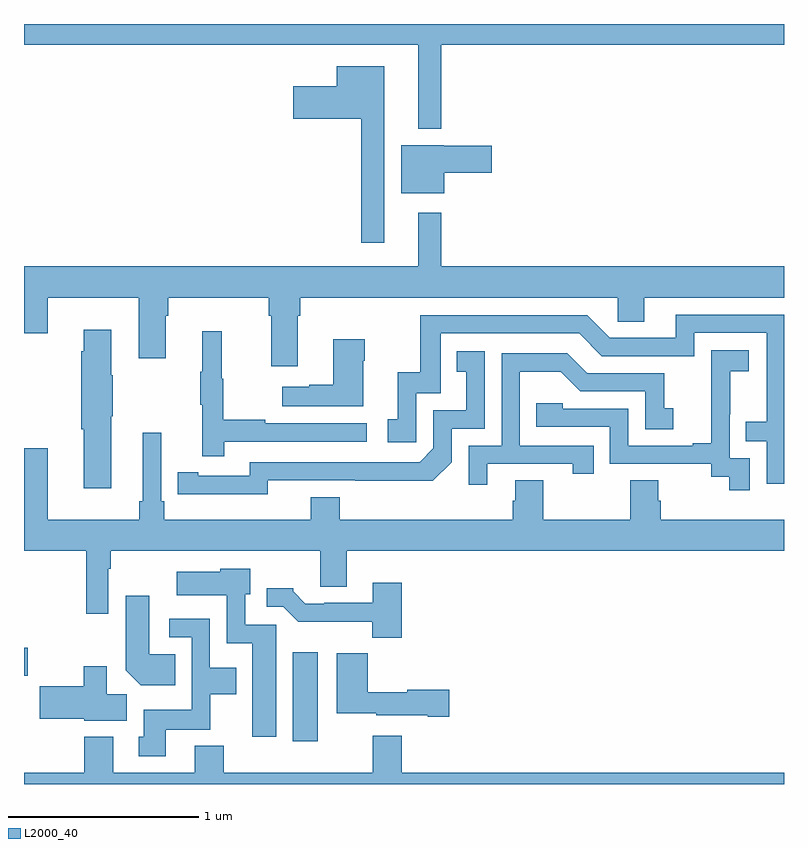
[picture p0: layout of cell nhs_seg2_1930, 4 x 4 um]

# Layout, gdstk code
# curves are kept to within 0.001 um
import gdstk
lib = gdstk.Library(unit=1e-6, precision=1e-09)
def R(c, l, rs):  # rectangles x0, y0, x1, y1
    for r in rs: c.add(gdstk.rectangle(r[:2], r[2:], *l))
def P(c, l, *ps):  # polygons
    for p in ps: c.add(gdstk.Polygon(p, *l))
L2000_40 = (2000, 40)

nhs_seg2_1930 = lib.new_cell('nhs_seg2_1930')
R(nhs_seg2_1930, L2000_40, [(214.415,588.024,214.546,588.493), (213,588.371,213.019,588.518)])
P(nhs_seg2_1930, L2000_40, [(215.197,591.692),(217,591.692),(217,591.8),(213,591.8),(213,591.692),(215.075,591.692),(215.075,591.248),(215.197,591.248)],
  [(214.897,591.577),(214.646,591.577),(214.646,591.472),(214.416,591.472),(214.416,591.302),(214.776,591.302),(214.776,590.649),(214.897,590.649)],
  [(215.212,591.016),(215.461,591.016),(215.461,591.158),(215.208,591.158),(215.208,591.163),(214.985,591.163),(214.985,590.909),(215.212,590.909)],
  [(215.197,590.806),(215.075,590.806),(215.075,590.524),(213,590.524),(213,590.172),(213.124,590.172),(213.124,590.36),(213.605,590.36),(213.605,590.04),(213.745,590.04),(213.745,590.264),(213.758,590.264),(213.758,590.36),(214.289,590.36),(214.289,590.264),(214.301,590.264),(214.301,589.998),(214.441,589.998),(214.441,590.264),(214.454,590.264),(214.454,590.36),(216.126,590.36),(216.126,590.233),(216.265,590.233),(216.265,590.36),(217,590.36),(217,590.524),(215.197,590.524)],
  [(217,590.271),(216.431,590.271),(216.431,590.148),(216.084,590.148),(215.964,590.268),(215.085,590.268),(215.085,589.966),(214.967,589.966),(214.967,589.719),(214.914,589.719),(214.914,589.599),(215.064,589.599),(215.064,589.857),(215.193,589.857),(215.193,590.172),(215.922,590.172),(216.042,590.052),(216.528,590.052),(216.528,590.175),(216.909,590.175),(216.909,589.706),(216.799,589.706),(216.799,589.605),(216.909,589.605),(216.909,589.38),(217,589.38)],
  [(213.46,589.735),(213.468,589.735),(213.468,589.952),(213.46,589.952),(213.46,590.191),(213.314,590.191),(213.314,590.078),(213.302,590.078),(213.302,589.668),(213.314,589.668),(213.314,589.356),(213.46,589.356)],
  [(214.055,589.602),(214.804,589.602),(214.804,589.698),(214.271,589.698),(214.271,589.718),(214.048,589.718),(214.048,589.932),(214.04,589.932),(214.04,590.182),(213.938,590.182),(213.938,589.969),(213.927,589.969),(213.927,589.795),(213.938,589.795),(213.938,589.524),(214.055,589.524)],
  [(214.786,590.027),(214.794,590.027),(214.794,590.14),(214.628,590.14),(214.628,589.901),(214.502,589.901),(214.502,589.891),(214.359,589.891),(214.359,589.787),(214.786,589.787)],
  [(216.819,589.515),(216.714,589.515),(216.714,589.745),(216.716,589.745),(216.716,589.973),(216.814,589.973),(216.814,590.083),(216.616,590.083),(216.616,589.877),(216.617,589.877),(216.617,589.594),(216.521,589.594),(216.521,589.581),(216.18,589.581),(216.18,589.776),(215.835,589.776),(215.835,589.803),(215.695,589.803),(215.695,589.68),(216.084,589.68),(216.084,589.485),(216.618,589.485),(216.618,589.417),(216.711,589.417),(216.711,589.347),(216.819,589.347)],
  [(214.284,589.398),(215.152,589.397),(215.25,589.494),(215.25,589.671),(215.424,589.671),(215.424,590.077),(215.278,590.077),(215.278,589.971),(215.327,589.971),(215.327,589.767),(215.154,589.767),(215.154,589.566),(215.082,589.494),(214.188,589.494),(214.188,589.422),(213.916,589.422),(213.916,589.442),(213.808,589.442),(213.808,589.326),(214.284,589.325)],
  [(215.437,589.485),(215.888,589.485),(215.888,589.434),(215.999,589.434),(215.999,589.581),(215.61,589.581),(215.61,589.97),(215.824,589.97),(215.928,589.866),(216.27,589.866),(216.27,589.668),(216.418,589.668),(216.418,589.777),(216.369,589.777),(216.369,589.962),(215.965,589.962),(215.86,590.067),(215.514,590.067),(215.514,589.581),(215.34,589.581),(215.34,589.374),(215.437,589.374)],
  [(214.699,589.028),(217,589.028),(217,589.192),(216.35,589.192),(216.35,589.29),(216.337,589.29),(216.337,589.4),(216.19,589.4),(216.19,589.192),(215.733,589.192),(215.733,589.4),(215.585,589.4),(215.585,589.29),(215.573,589.29),(215.573,589.192),(214.661,589.192),(214.661,589.309),(214.508,589.309),(214.508,589.192),(213.737,589.192),(213.737,589.288),(213.723,589.288),(213.723,589.648),(213.626,589.648),(213.626,589.288),(213.607,589.288),(213.607,589.192),(213.124,589.192),(213.124,589.567),(213,589.567),(213,589.028),(213.328,589.028),(213.328,588.696),(213.444,588.696),(213.444,588.932),(213.457,588.932),(213.457,589.028),(214.559,589.028),(214.559,588.838),(214.699,588.838)],
  [(214.327,588.639),(214.164,588.639),(214.164,588.798),(214.192,588.798),(214.192,588.934),(214.032,588.934),(214.032,588.916),(213.804,588.916),(213.804,588.794),(214.068,588.794),(214.068,588.542),(214.202,588.542),(214.202,588.048),(214.327,588.048)],
  [(214.988,588.859),(214.835,588.859),(214.835,588.753),(214.579,588.753),(214.579,588.75),(214.48,588.75),(214.416,588.814),(214.416,588.829),(214.277,588.829),(214.277,588.732),(214.365,588.732),(214.444,588.654),(214.833,588.654),(214.833,588.569),(214.988,588.569)],
  [(213.797,588.484),(213.658,588.484),(213.658,588.79),(213.536,588.79),(213.536,588.398),(213.614,588.32),(213.797,588.32)],
  [(213.745,588.086),(213.981,588.086),(213.981,588.272),(214.117,588.272),(214.117,588.412),(213.978,588.412),(213.978,588.669),(213.765,588.669),(213.765,588.573),(213.882,588.573),(213.882,588.19),(213.629,588.19),(213.629,588.048),(213.605,588.048),(213.605,587.946),(213.745,587.946)],
  [(215.239,588.296),(215.016,588.296),(215.016,588.283),(214.808,588.283),(214.808,588.487),(214.646,588.487),(214.646,588.173),(214.854,588.173),(214.854,588.161),(215.126,588.161),(215.126,588.154),(215.239,588.154)],
  [(213.541,588.272),(213.436,588.272),(213.436,588.421),(213.314,588.421),(213.314,588.314),(213.084,588.314),(213.084,588.143),(213.318,588.143),(213.318,588.134),(213.541,588.134)],
  [(217,587.86),(214.988,587.86),(214.988,588.055),(214.835,588.055),(214.835,587.86),(214.052,587.86),(214.052,588.001),(213.899,588.001),(213.899,587.86),(213.469,587.86),(213.469,588.049),(213.317,588.049),(213.317,587.86),(213,587.86),(213,587.8),(217,587.8)])

lib.write_gds('nhs_seg2_1930.gds')
